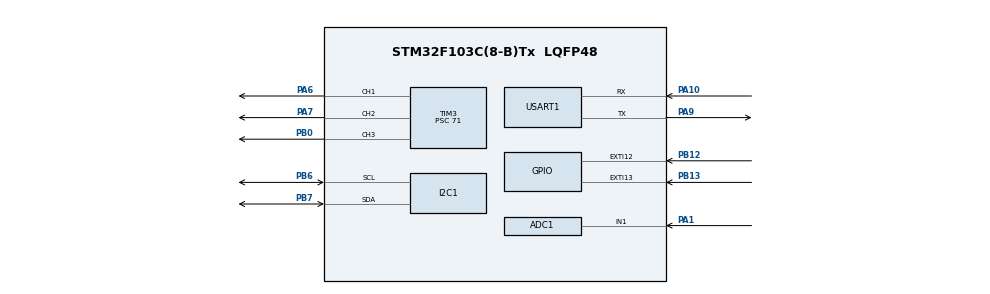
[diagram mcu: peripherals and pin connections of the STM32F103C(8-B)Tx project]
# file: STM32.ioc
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ADC1.Channel-0\#ChannelRegularConversion=ADC_CHANNEL_1
ADC1.ContinuousConvMode=ENABLE
ADC1.NbrOfConversionFlag=1
ADC1.Rank-0\#ChannelRegularConversion=1
ADC1.SamplingTime-0\#ChannelRegularConversion=ADC_SAMPLETIME_1CYCLE_5
ADC1.master=1
Mcu.Family=STM32F1
Mcu.Name=STM32F103C(8-B)Tx
Mcu.Package=LQFP48
NVIC.EXTI15_10_IRQn=true\:0\:0\:false\:false\:true\:true\:true\:true
NVIC.PriorityGroup=NVIC_PRIORITYGROUP_4
NVIC.TIM2_IRQn=true\:0\:0\:false\:false\:true\:true\:true\:true
NVIC.USART1_IRQn=true\:0\:0\:false\:false\:true\:true\:true\:true
PA1.Signal=ADCx_IN1
PA10.Mode=Asynchronous
PA10.Signal=USART1_RX
PA13.Mode=Serial_Wire
PA13.Signal=SYS_JTMS-SWDIO
PA14.Mode=Serial_Wire
PA14.Signal=SYS_JTCK-SWCLK
PA6.Signal=S_TIM3_CH1
PA7.Signal=S_TIM3_CH2
PA9.Mode=Asynchronous
PA9.Signal=USART1_TX
PB0.Signal=S_TIM3_CH3
PB12.GPIO_ModeDefaultEXTI=GPIO_MODE_IT_FALLING
PB12.GPIO_PuPd=GPIO_PULLUP
PB12.Signal=GPXTI12
PB13.GPIO_ModeDefaultEXTI=GPIO_MODE_IT_FALLING
PB13.GPIO_PuPd=GPIO_PULLUP
PB13.Signal=GPXTI13
PB6.Mode=I2C
PB6.Signal=I2C1_SCL
PB7.Mode=I2C
PB7.Signal=I2C1_SDA
PD0-OSC_IN.Mode=HSE-External-Oscillator
PD0-OSC_IN.Signal=RCC_OSC_IN
PD1-OSC_OUT.Mode=HSE-External-Oscillator
PD1-OSC_OUT.Signal=RCC_OSC_OUT
ProjectManager.HeapSize=0x200
ProjectManager.StackSize=0x400
ProjectManager.TargetToolchain=CMake
RCC.APB1Freq_Value=8000000
RCC.APB2Freq_Value=8000000
SH.ADCx_IN1.0=ADC1_IN1,IN1
SH.S_TIM3_CH1.0=TIM3_CH1,PWM Generation1 CH1
SH.S_TIM3_CH2.0=TIM3_CH2,PWM Generation2 CH2
SH.S_TIM3_CH3.0=TIM3_CH3,PWM Generation3 CH3
TIM2.Prescaler=71
TIM3.Channel-PWM\ Generation1\ CH1=TIM_CHANNEL_1
TIM3.Channel-PWM\ Generation2\ CH2=TIM_CHANNEL_2
TIM3.Channel-PWM\ Generation3\ CH3=TIM_CHANNEL_3
TIM3.Prescaler=71
USART1.VirtualMode=VM_ASYNC
VP_TIM2_VS_ClockSourceINT.Mode=Internal
VP_TIM3_VS_ClockSourceINT.Mode=Internal
board=custom

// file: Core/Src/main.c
/* USER CODE BEGIN Header */
    /**
      ******************************************************************************
      * @file           : main.c
      * @brief          : Main program body
      ******************************************************************************
      * @attention
      *
      * Copyright (c) 2026 STMicroelectronics.
      * All rights reserved.
      *
      * This software is licensed under terms that can be found in the LICENSE file
      * in the root directory of this software component.
      * If no LICENSE file comes with this software, it is provided AS-IS.
      *
      ******************************************************************************
      */
    /* USER CODE END Header */
    /* Includes ------------------------------------------------------------------*/
    #include "main.h"

    /* Private includes ----------------------------------------------------------*/
    /* USER CODE BEGIN Includes */
    #include "ssd1306.h"
    #include "ssd1306_fonts.h"
    #include "ssd1306_tests.h"
    #include <string.h>
    #include <stdio.h>
    #include <math.h>
    /* USER CODE END Includes */

    /* Private typedef -----------------------------------------------------------*/

    /* Private define ------------------------------------------------------------*/

    /* Private macro -------------------------------------------------------------*/

    /* Private variables ---------------------------------------------------------*/
    ADC_HandleTypeDef hadc1;

    I2C_HandleTypeDef hi2c1;

    TIM_HandleTypeDef htim2;
    TIM_HandleTypeDef htim3;

    UART_HandleTypeDef huart1;

    /* USER CODE BEGIN PV */
    typedef enum {
        STATE_SOLID,     // 1. MÀU TRẮNG TĨNH 100% (Solid White - All 3 LEDs PA6, PA7, PB0)
        STATE_BREATHING, // 2. THỞ MÀU TRẮNG (White Breathing - Gamma 2.2)
        STATE_RAINBOW,   // 3. CẦU VỒNG 6 GIAI ĐOẠN (Rainbow Spectrum)
        STATE_SLEEP      // 4. TẮT TẤT CẢ (Sleep Mode)
    } SystemState;

    // --- Cấu hình bộ hẹn giờ tự tắt (Auto-off Timer) ---
    // GIÁ TRỊ MẶC ĐỊNH, CHƯA CHỐT VỚI NHÓM — chỉnh lại nếu team thống nhất khác
    #define TIMER_STEP_MIN   5   // mỗi lần bấm PB13 cộng thêm bao nhiêu phút
    #define TIMER_MAX_MIN    30  // giới hạn tối đa bao nhiêu phút

    // Các biến dưới đây được ghi trong ISR (EXTI/UART) và đọc ở main loop -> phải volatile,
    // nếu không trình biên dịch có quyền cache chúng vào thanh ghi khi bật tối ưu (-Os).
    volatile SystemState current_state = STATE_SOLID;
    volatile uint8_t mode_changed_flag = 1;
    volatile uint8_t screen_dirty = 1; // Báo cần vẽ lại toàn bộ OLED (đặt trong ISR, vẽ ở main loop)
    volatile uint32_t timer_remaining_sec = 0; // Số giây còn lại của hẹn giờ, 0 = hẹn giờ đang tắt
    uint32_t timer_last_tick = 0;     // Mốc HAL_GetTick() của lần trừ giây gần nhất (non-blocking)
    int16_t breath_val = 0;
    int8_t breath_step = 15;
    uint8_t rx_byte = 0; // Biến nhận dữ liệu từ Terminal qua UART
    /* USER CODE END PV */

    /* Private function prototypes -----------------------------------------------*/
    void SystemClock_Config(void);
    static void MX_GPIO_Init(void);
    static void MX_ADC1_Init(void);
    static void MX_I2C1_Init(void);
    static void MX_TIM2_Init(void);
    static void MX_TIM3_Init(void);
    static void MX_USART1_UART_Init(void);

    /* Private user code ---------------------------------------------------------*/
    /* USER CODE BEGIN 0 */
    /**
      * @brief Redraw the whole OLED in a single pass: mode on top, auto-off timer below.
      *
      * Mode text and countdown share one framebuffer, so drawing them from two separate
      * blocks made each one erase the other (the mode line vanished every second while a
      * timer was running). One writer, one ssd1306_UpdateScreen().
      */
    static void draw_screen(void)
    {
        ssd1306_Fill(Black);

        ssd1306_SetCursor(2, 2);
        switch (current_state) {
            case STATE_SOLID:     ssd1306_WriteString("1. SOLID WHITE", Font_7x10, White); break;
            case STATE_BREATHING: ssd1306_WriteString("2. BREATHING",   Font_7x10, White); break;
            case STATE_RAINBOW:   ssd1306_WriteString("3. RAINBOW",     Font_7x10, White); break;
            case STATE_SLEEP:     ssd1306_WriteString("4. SLEEP OFF",   Font_7x10, White); break;
        }
        ssd1306_Line(0, 13, 127, 13, White);

        if (timer_remaining_sec > 0) {
            uint32_t remaining = timer_remaining_sec; // chụp 1 lần, tránh ISR đổi giữa chừng
            // Chặn phút trong [0,99] để chuỗi luôn đúng 5 ký tự "MM:SS" — vừa khít
            // 5 x 16px = 80px của Font_16x26 trên màn rộng 128px.
            unsigned mm = (unsigned)((remaining / 60) % 100);
            unsigned ss = (unsigned)(remaining % 60);
            char timer_buf[8];
            snprintf(timer_buf, sizeof(timer_buf), "%02u:%02u", mm, ss);

            // Nhãn phải đối xứng với nhánh else. Bản trước ghi "HEN GIO TAT"
            // (ý là "hẹn giờ tắt đèn") nhưng người dùng đọc thành "hẹn giờ đang tắt",
            // trong khi thực tế nó đang chạy — hiểu ngược hoàn toàn.
            ssd1306_SetCursor(2, 18);
            ssd1306_WriteString("HEN GIO: ON", Font_7x10, White);
            ssd1306_SetCursor(24, 32);
            ssd1306_WriteString(timer_buf, Font_16x26, White); // số to, nhìn từ xa vẫn rõ
        } else {
            ssd1306_SetCursor(2, 18);
            ssd1306_WriteString("HEN GIO: OFF", Font_7x10, White);
        }

        ssd1306_UpdateScreen();
    }
    /* USER CODE END 0 */

    /**
      * @brief  The application entry point.
      * @retval int
      */
    int main(void)
    {

      /* MCU Configuration--------------------------------------------------------*/

      /* Reset of all peripherals, Initializes the Flash interface and the Systick. */
      HAL_Init();

      /* Configure the system clock */
      SystemClock_Config();

      /* Initialize all configured peripherals */
      MX_GPIO_Init();
      MX_ADC1_Init();
      MX_I2C1_Init();
      MX_TIM2_Init();
      MX_TIM3_Init();
      MX_USART1_UART_Init();

      /* USER CODE BEGIN 2 */
      // Ép cấu hình lại các chân PWM (Chống lỗi Output thường của CubeMX)
      GPIO_InitTypeDef GPIO_InitStruct_PWM = {0};
      GPIO_InitStruct_PWM.Pin = GPIO_PIN_6 | GPIO_PIN_7;
      GPIO_InitStruct_PWM.Mode = GPIO_MODE_AF_PP;
      GPIO_InitStruct_PWM.Speed = GPIO_SPEED_FREQ_HIGH;
      HAL_GPIO_Init(GPIOA, &GPIO_InitStruct_PWM);

      GPIO_InitStruct_PWM.Pin = GPIO_PIN_0;
      HAL_GPIO_Init(GPIOB, &GPIO_InitStruct_PWM);

      // Bật tất cả các kênh PWM của TIM3 cho LED RGB
      HAL_TIM_PWM_Start(&htim3, TIM_CHANNEL_1); // Kênh Đỏ (PA6)
      HAL_TIM_PWM_Start(&htim3, TIM_CHANNEL_2); // Kênh Xanh lá (PA7)
      HAL_TIM_PWM_Start(&htim3, TIM_CHANNEL_3); // Kênh Xanh dương (PB0)

      // Hiệu chuẩn ADC trước khi dùng: STM32F1 bắt buộc chạy 1 lần sau khi bật ADC,
      // bỏ qua thì giá trị đọc về lệch offset (vặn biến trở về 0 mà đèn vẫn sáng mờ).
      HAL_ADCEx_Calibration_Start(&hadc1);

      // Bật ADC1 để đọc biến trở
      HAL_ADC_Start(&hadc1);

      // Bật ngắt nhận dữ liệu từ Terminal qua UART1
      HAL_UART_Receive_IT(&huart1, &rx_byte, 1);

      // --- Bỏ quét I2C để tránh lỗi NACK trên Proteus ---
      // Địa chỉ thật lấy từ SSD1306_I2C_ADDR trong ssd1306_conf.h (0x3C << 1).
      // Nếu màn không lên, thử đổi sang 0x3D << 1 — đây là hai địa chỉ duy nhất của SSD1306.
      {
          char boot_msg[48];
          int boot_len = snprintf(boot_msg, sizeof(boot_msg),
                                  "\r\n[BOOT] Init OLED at 0x%02X...\r\n",
                                  (unsigned)(SSD1306_I2C_ADDR >> 1));
          HAL_UART_Transmit(&huart1, (uint8_t*)boot_msg, (uint16_t)boot_len, 100);
      }
      // -------------------

      // Khởi tạo màn hình OLED
      ssd1306_Init();
      ssd1306_Fill(Black);
      ssd1306_SetCursor(10, 10);
      ssd1306_WriteString("OLED OK!", Font_7x10, White);
      ssd1306_UpdateScreen();

      char startup_msg[] = "\r\n==================================================\r\n"
                           "  HE THONG DEN RGB MOOD LAMP - DIEU KHIEN TERMINAL\r\n"
                           "    Go '1': Nac 1 - MAU TRANG TINH (Solid White 100%)\r\n"
                           "    Go '2': Nac 2 - THO MAU TRANG (White Breathing Gamma 2.2)\r\n"
                           "    Go '3': Nac 3 - CAU VONG 6 GIAI DOAN (Rainbow Spectrum)\r\n"
                           "    Go '0': Nac 4 - TAT HET DEN (Sleep Mode)\r\n"
                           "    Go 'n' hoac Space: CHUYEN NAC TIEP THEO\r\n"
                           "==================================================\r\n";
      HAL_UART_Transmit(&huart1, (uint8_t*)startup_msg, strlen(startup_msg), 200);
      /* USER CODE END 2 */

      /* Infinite loop */
      while (1)
      {

        /* USER CODE BEGIN 3 */
        uint32_t now = HAL_GetTick();

        // ==========================================
        // ĐỌC BIẾN TRỞ VÀ QUY ĐỔI SANG max_bright (ÉP QUÉT ADC CHO PROTEUS)
        HAL_ADC_Stop(&hadc1);
        HAL_ADC_Start(&hadc1);
        HAL_ADC_PollForConversion(&hadc1, 10);
        uint32_t adc_val = HAL_ADC_GetValue(&hadc1);
        uint16_t max_bright = (uint16_t)((adc_val * 999) / 4095);
        // ==========================================

        // ==========================================
        // ĐẾM NGƯỢC HẸN GIỜ TỰ TẮT (non-blocking, dựa trên HAL_GetTick, không dùng delay)
        // Chỉ trừ đúng 1 giây mỗi khi đủ 1000ms trôi qua, cộng dồn mốc thay vì gán lại
        // now để không bị trôi lệch tích lũy theo thời gian.
        if (timer_remaining_sec > 0 && (now - timer_last_tick >= 1000)) {
            timer_last_tick += 1000;
            timer_remaining_sec--;

            if (timer_remaining_sec == 0) {
                // Hết giờ -> tự chuyển sang Sleep, để khối mode_changed_flag bên dưới
                // lo việc in UART + vẽ lại OLED theo đúng nấc Sleep như bình thường.
                current_state = STATE_SLEEP;
                mode_changed_flag = 1;
            } else {
                // Còn giờ -> báo cần vẽ lại số đếm ngược mới lên OLED
                screen_dirty = 1;
            }
        }
        // ==========================================

        // 1. Thông báo đổi chế độ qua UART (phần OLED do draw_screen() lo, xem khối 1b)
        if (mode_changed_flag == 1) {
            mode_changed_flag = 0;

            switch(current_state) {
                case STATE_SOLID: {
                    char msg_solid[] = "Nac 1: SOLID WHITE (Mau Trang Tinh 100%)\r\n";
                    HAL_UART_Transmit(&huart1, (uint8_t*)msg_solid, strlen(msg_solid), 100);
                    break;
                }
                case STATE_BREATHING: {
                    char msg_breath[] = "Nac 2: BREATHING WHITE (Tho Mau Trang Gamma 2.2)\r\n";
                    HAL_UART_Transmit(&huart1, (uint8_t*)msg_breath, strlen(msg_breath), 100);
                    break;
                }
                case STATE_RAINBOW: {
                    char msg_rain[] = "Nac 3: RAINBOW SPECTRUM (Cau Vong 6 Giai Doan Chuyen Mau Muot)\r\n";
                    HAL_UART_Transmit(&huart1, (uint8_t*)msg_rain, strlen(msg_rain), 100);
                    break;
                }
                case STATE_SLEEP: {
                    char msg_sleep[] = "Nac 4: SLEEP (TAT HET DEN)\r\n";
                    HAL_UART_Transmit(&huart1, (uint8_t*)msg_sleep, strlen(msg_sleep), 100);
                    break;
                }
            }
            screen_dirty = 1;
        }

        // 1b. VẼ OLED: một lần vẽ duy nhất cho cả nấc hiện tại lẫn đồng hồ đếm ngược.
        // Cờ được bật khi đổi nấc, khi bấm PB13, và mỗi lần trừ đi 1 giây.
        if (screen_dirty == 1) {
            screen_dirty = 0; // Xóa cờ để không vẽ lại liên tục mỗi vòng lặp
            draw_screen();
        }
        // ----------------------------------------

        // 2. Điều khiển PWM theo Chế độ (Độ sáng MAX 100% Cố định)
        switch(current_state) {
            case STATE_SOLID: // NẤC 1: MÀU TRẮNG TĨNH 100% (CẢ 3 LED PA6, PA7, PB0)
                __HAL_TIM_SET_COMPARE(&htim3, TIM_CHANNEL_1, max_bright);
                __HAL_TIM_SET_COMPARE(&htim3, TIM_CHANNEL_2, max_bright);
                __HAL_TIM_SET_COMPARE(&htim3, TIM_CHANNEL_3, max_bright);
                break;

            case STATE_BREATHING: { // NẤC 2: THỞ MÀU TRẮNG THEO CÁCH B (GAMMA 2.2)
                uint32_t t = now % 3000; // 1 chu kỳ thở = 3 giây (3000ms)
                float progress;
                if (t < 1500) {
                    progress = (float)t / 1500.0f; // 0.0 -> 1.0 (Sáng dần)
                } else {
                    progress = (float)(3000 - t) / 1500.0f; // 1.0 -> 0.0 (Tối dần)
                }

                // Áp dụng công thức Cách B: Gamma Correction 2.2 (x^2.2)
                float brightness_ratio = powf(progress, 2.2f);
                uint16_t pwm_val = (uint16_t)((float)max_bright * brightness_ratio);

                // Phát xung PWM đồng thời ra cả 3 màu -> MÀU TRẮNG THỞ MƯỢT
                __HAL_TIM_SET_COMPARE(&htim3, TIM_CHANNEL_1, pwm_val);
                __HAL_TIM_SET_COMPARE(&htim3, TIM_CHANNEL_2, pwm_val);
                __HAL_TIM_SET_COMPARE(&htim3, TIM_CHANNEL_3, pwm_val);
                break;
            }

            case STATE_RAINBOW: { // NẤC 3: HIỆU ỨNG CẦU VỒNG 6 GIAI ĐOẠN (HSV/HSL Spectrum Crossfade)
                uint32_t t = now % 6000;   // 1 chu kỳ Cầu vồng = 6 giây (6000ms)
                uint32_t phase = t / 1000; // 0 -> 5 (6 Giai đoạn màu)
                uint32_t sub_t = t % 1000; // 0 -> 999ms trong từng giai đoạn

                uint16_t inc = (uint16_t)((sub_t * max_bright) / 1000); // Giá trị tăng 0 -> max_bright
                uint16_t dec = max_bright - inc;                        // Giá trị giảm max_bright -> 0

                uint16_t r = 0, g = 0, b = 0;
                switch(phase) {
                    case 0: r = max_bright; g = inc;        b = 0;          break; // Đỏ -> Vàng
                    case 1: r = dec;        g = max_bright; b = 0;          break; // Vàng -> Xanh lá
                    case 2: r = 0;          g = max_bright; b = inc;        break; // Xanh lá -> Cyan
                    case 3: r = 0;          g = dec;        b = max_bright; break; // Cyan -> Xanh dương
                    case 4: r = inc;        g = 0;          b = max_bright; break; // Xanh dương -> Tím
                    case 5: r = max_bright; g = 0;          b = dec;        break; // Tím -> Đỏ
                }

                __HAL_TIM_SET_COMPARE(&htim3, TIM_CHANNEL_1, r); // PA6 (Đỏ)
                __HAL_TIM_SET_COMPARE(&htim3, TIM_CHANNEL_2, g); // PA7 (Xanh lá)
                __HAL_TIM_SET_COMPARE(&htim3, TIM_CHANNEL_3, b); // PB0 (Xanh dương)
                break;
            }

            case STATE_SLEEP: // NẤC 4: TẮT TẤT CẢ
                __HAL_TIM_SET_COMPARE(&htim3, TIM_CHANNEL_1, 0);
                __HAL_TIM_SET_COMPARE(&htim3, TIM_CHANNEL_2, 0);
                __HAL_TIM_SET_COMPARE(&htim3, TIM_CHANNEL_3, 0);
                break;
        }
      /* USER CODE END 3 */
      }
    }

    /**
      * @brief System Clock Configuration
      * @retval None
      */
    void SystemClock_Config(void)
    {
      RCC_OscInitTypeDef RCC_OscInitStruct = {0};
      RCC_ClkInitTypeDef RCC_ClkInitStruct = {0};
      RCC_PeriphCLKInitTypeDef PeriphClkInit = {0};

      /** Initializes the RCC Oscillators according to the specified parameters
      * in the RCC_OscInitTypeDef structure.
      */
      RCC_OscInitStruct.OscillatorType = RCC_OSCILLATORTYPE_HSI;
      RCC_OscInitStruct.HSIState = RCC_HSI_ON;
      RCC_OscInitStruct.HSICalibrationValue = RCC_HSICALIBRATION_DEFAULT;
      RCC_OscInitStruct.PLL.PLLState = RCC_PLL_NONE;
      if (HAL_RCC_OscConfig(&RCC_OscInitStruct) != HAL_OK)
      {
        Error_Handler();
      }

      /** Initializes the CPU, AHB and APB buses clocks
      */
      RCC_ClkInitStruct.ClockType = RCC_CLOCKTYPE_HCLK|RCC_CLOCKTYPE_SYSCLK
                                  |RCC_CLOCKTYPE_PCLK1|RCC_CLOCKTYPE_PCLK2;
      RCC_ClkInitStruct.SYSCLKSource = RCC_SYSCLKSOURCE_HSI;
      RCC_ClkInitStruct.AHBCLKDivider = RCC_SYSCLK_DIV1;
      RCC_ClkInitStruct.APB1CLKDivider = RCC_HCLK_DIV1;
      RCC_ClkInitStruct.APB2CLKDivider = RCC_HCLK_DIV1;

      if (HAL_RCC_ClockConfig(&RCC_ClkInitStruct, FLASH_LATENCY_0) != HAL_OK)
      {
        Error_Handler();
      }
      PeriphClkInit.PeriphClockSelection = RCC_PERIPHCLK_ADC;
      PeriphClkInit.AdcClockSelection = RCC_ADCPCLK2_DIV2;
      if (HAL_RCCEx_PeriphCLKConfig(&PeriphClkInit) != HAL_OK)
      {
        Error_Handler();
      }
    }

    /**
      * @brief ADC1 Initialization Function
      * @param None
      * @retval None
      */
    static void MX_ADC1_Init(void)
    {

      ADC_ChannelConfTypeDef sConfig = {0};

      /** Common config
      */
      hadc1.Instance = ADC1;
      hadc1.Init.ScanConvMode = ADC_SCAN_DISABLE;
      hadc1.Init.ContinuousConvMode = ENABLE;
      hadc1.Init.DiscontinuousConvMode = DISABLE;
      hadc1.Init.ExternalTrigConv = ADC_SOFTWARE_START;
      hadc1.Init.DataAlign = ADC_DATAALIGN_RIGHT;
      hadc1.Init.NbrOfConversion = 1;
      if (HAL_ADC_Init(&hadc1) != HAL_OK)
      {
        Error_Handler();
      }

      /** Configure Regular Channel
      */
      sConfig.Channel = ADC_CHANNEL_1;
      sConfig.Rank = ADC_REGULAR_RANK_1;
      sConfig.SamplingTime = ADC_SAMPLETIME_239CYCLES_5; // Tăng thời gian lấy mẫu tối đa cho biến trở 100k
      if (HAL_ADC_ConfigChannel(&hadc1, &sConfig) != HAL_OK)
      {
        Error_Handler();
      }

    }

    /**
      * @brief I2C1 Initialization Function
      * @param None
      * @retval None
      */
    static void MX_I2C1_Init(void)
    {

      hi2c1.Instance = I2C1;
      hi2c1.Init.ClockSpeed = 100000;
      hi2c1.Init.DutyCycle = I2C_DUTYCYCLE_2;
      hi2c1.Init.OwnAddress1 = 0;
      hi2c1.Init.AddressingMode = I2C_ADDRESSINGMODE_7BIT;
      hi2c1.Init.DualAddressMode = I2C_DUALADDRESS_DISABLE;
      hi2c1.Init.OwnAddress2 = 0;
      hi2c1.Init.GeneralCallMode = I2C_GENERALCALL_DISABLE;
      hi2c1.Init.NoStretchMode = I2C_NOSTRETCH_DISABLE;
      if (HAL_I2C_Init(&hi2c1) != HAL_OK)
      {
        Error_Handler();
      }

    }

    /**
      * @brief TIM2 Initialization Function
      * @param None
      * @retval None
      */
    static void MX_TIM2_Init(void)
    {

      TIM_ClockConfigTypeDef sClockSourceConfig = {0};
      TIM_MasterConfigTypeDef sMasterConfig = {0};

      htim2.Instance = TIM2;
      htim2.Init.Prescaler = 71;
      htim2.Init.CounterMode = TIM_COUNTERMODE_UP;
      htim2.Init.Period = 65535;
      htim2.Init.ClockDivision = TIM_CLOCKDIVISION_DIV1;
      htim2.Init.AutoReloadPreload = TIM_AUTORELOAD_PRELOAD_DISABLE;
      if (HAL_TIM_Base_Init(&htim2) != HAL_OK)
      {
        Error_Handler();
      }
      sClockSourceConfig.ClockSource = TIM_CLOCKSOURCE_INTERNAL;
      if (HAL_TIM_ConfigClockSource(&htim2, &sClockSourceConfig) != HAL_OK)
      {
        Error_Handler();
      }
      sMasterConfig.MasterOutputTrigger = TIM_TRGO_RESET;
      sMasterConfig.MasterSlaveMode = TIM_MASTERSLAVEMODE_DISABLE;
      if (HAL_TIMEx_MasterConfigSynchronization(&htim2, &sMasterConfig) != HAL_OK)
      {
        Error_Handler();
      }

    }

    /**
      * @brief TIM3 Initialization Function
      * @param None
      * @retval None
      */
    static void MX_TIM3_Init(void)
    {

      TIM_ClockConfigTypeDef sClockSourceConfig = {0};
      TIM_MasterConfigTypeDef sMasterConfig = {0};
      TIM_OC_InitTypeDef sConfigOC = {0};

      htim3.Instance = TIM3;
      // Clock hệ thống là HSI 8 MHz (không bật PLL). Prescaler 71 cho ra PWM chỉ 111 Hz
      // -> mắt thấy nháy khi quay video. 7 cho ra 8 MHz / 8 / 1000 = 1 kHz.
      htim3.Init.Prescaler = 7;
      htim3.Init.CounterMode = TIM_COUNTERMODE_UP;
      htim3.Init.Period = 999;
      htim3.Init.ClockDivision = TIM_CLOCKDIVISION_DIV1;
      htim3.Init.AutoReloadPreload = TIM_AUTORELOAD_PRELOAD_DISABLE;
      if (HAL_TIM_Base_Init(&htim3) != HAL_OK)
      {
        Error_Handler();
      }
      sClockSourceConfig.ClockSource = TIM_CLOCKSOURCE_INTERNAL;
      if (HAL_TIM_ConfigClockSource(&htim3, &sClockSourceConfig) != HAL_OK)
      {
        Error_Handler();
      }
      if (HAL_TIM_PWM_Init(&htim3) != HAL_OK)
      {
        Error_Handler();
      }
      sMasterConfig.MasterOutputTrigger = TIM_TRGO_RESET;
      sMasterConfig.MasterSlaveMode = TIM_MASTERSLAVEMODE_DISABLE;
      if (HAL_TIMEx_MasterConfigSynchronization(&htim3, &sMasterConfig) != HAL_OK)
      {
        Error_Handler();
      }
      sConfigOC.OCMode = TIM_OCMODE_PWM1;
      sConfigOC.Pulse = 0;
      sConfigOC.OCPolarity = TIM_OCPOLARITY_HIGH;
      sConfigOC.OCFastMode = TIM_OCFAST_DISABLE;
      if (HAL_TIM_PWM_ConfigChannel(&htim3, &sConfigOC, TIM_CHANNEL_1) != HAL_OK)
      {
        Error_Handler();
      }
      if (HAL_TIM_PWM_ConfigChannel(&htim3, &sConfigOC, TIM_CHANNEL_2) != HAL_OK)
      {
        Error_Handler();
      }
      if (HAL_TIM_PWM_ConfigChannel(&htim3, &sConfigOC, TIM_CHANNEL_3) != HAL_OK)
      {
        Error_Handler();
      }
      if (HAL_TIM_PWM_ConfigChannel(&htim3, &sConfigOC, TIM_CHANNEL_4) != HAL_OK)
      {
        Error_Handler();
      }
      HAL_TIM_MspPostInit(&htim3);

    }

    /**
      * @brief USART1 Initialization Function
      * @param None
      * @retval None
      */
    static void MX_USART1_UART_Init(void)
    {

      huart1.Instance = USART1;
      huart1.Init.BaudRate = 115200;
      huart1.Init.WordLength = UART_WORDLENGTH_8B;
      huart1.Init.StopBits = UART_STOPBITS_1;
      huart1.Init.Parity = UART_PARITY_NONE;
      huart1.Init.Mode = UART_MODE_TX_RX;
      huart1.Init.HwFlowCtl = UART_HWCONTROL_NONE;
      huart1.Init.OverSampling = UART_OVERSAMPLING_16;
      if (HAL_UART_Init(&huart1) != HAL_OK)
      {
        Error_Handler();
      }

    }

    /**
      * @brief GPIO Initialization Function
      * @param None
      * @retval None
      */
    static void MX_GPIO_Init(void)
    {
      GPIO_InitTypeDef GPIO_InitStruct = {0};

      /* GPIO Ports Clock Enable */
      __HAL_RCC_GPIOD_CLK_ENABLE();
      __HAL_RCC_GPIOA_CLK_ENABLE();
      __HAL_RCC_GPIOB_CLK_ENABLE();

      /*Configure GPIO pins : PB12 PB13 */
      GPIO_InitStruct.Pin = GPIO_PIN_12|GPIO_PIN_13;
      GPIO_InitStruct.Mode = GPIO_MODE_IT_FALLING;
      GPIO_InitStruct.Pull = GPIO_PULLUP;
      HAL_GPIO_Init(GPIOB, &GPIO_InitStruct);

      /*Configure GPIO pin : PA7 */
      GPIO_InitStruct.Pin = GPIO_PIN_7;
      GPIO_InitStruct.Mode = GPIO_MODE_OUTPUT_PP;
      GPIO_InitStruct.Speed = GPIO_SPEED_FREQ_HIGH;
      HAL_GPIO_Init(GPIOA, &GPIO_InitStruct);

      /* EXTI interrupt init*/
      HAL_NVIC_SetPriority(EXTI15_10_IRQn, 0, 0);
      HAL_NVIC_EnableIRQ(EXTI15_10_IRQn);

    }

    /* USER CODE BEGIN 4 */
    void HAL_GPIO_EXTI_Callback(uint16_t GPIO_Pin) {
        uint32_t current_time = HAL_GetTick();
        static uint32_t last_pb12_time = 0;
        static uint32_t last_pb13_time = 0;

        // Xử lý nút Đổi chế độ (PB12) - Chống dội 300ms chính xác 100%
        if (GPIO_Pin == GPIO_PIN_12) {
            if ((current_time - last_pb12_time) > 300) {
                current_state++;
                if (current_state > STATE_SLEEP) {
                    current_state = STATE_SOLID;
                }
                mode_changed_flag = 1;
                last_pb12_time = current_time;
            }
        }

        // Xử lý nút Hẹn giờ (PB13) - mỗi lần bấm cộng thêm TIMER_STEP_MIN phút, tối đa TIMER_MAX_MIN phút
        if (GPIO_Pin == GPIO_PIN_13) {
            if ((current_time - last_pb13_time) > 300) {
                timer_remaining_sec += (uint32_t)TIMER_STEP_MIN * 60;
                if (timer_remaining_sec > (uint32_t)TIMER_MAX_MIN * 60) {
                    timer_remaining_sec = (uint32_t)TIMER_MAX_MIN * 60;
                }
                timer_last_tick = current_time; // reset mốc đếm giây, tránh trừ hụt ngay sau khi bấm

                char msg_timer[64];
                int len = snprintf(msg_timer, sizeof(msg_timer),
                                    "-> Hen gio +%d phut (con lai %lu giay)\r\n",
                                    TIMER_STEP_MIN, (unsigned long)timer_remaining_sec);
                HAL_UART_Transmit(&huart1, (uint8_t*)msg_timer, (uint16_t)len, 100);

                screen_dirty = 1; // báo main loop vẽ ngay số đếm ngược mới, không đợi đủ 1s

                last_pb13_time = current_time;
            }
        }
    }

    // Callback ngắt nhận dữ liệu từ Terminal qua UART (Điều khiển LED bằng cách gõ phím)
    void HAL_UART_RxCpltCallback(UART_HandleTypeDef *huart) {
        if (huart->Instance == USART1) {
            // Phản hồi ký tự gõ lại Terminal (Echo back)
            HAL_UART_Transmit(&huart1, &rx_byte, 1, 10);

            if (rx_byte == '1' || rx_byte == 'w' || rx_byte == 'W') {
                current_state = STATE_SOLID; // 1. MÀU TRẮNG TĨNH 100%
                mode_changed_flag = 1;
            } else if (rx_byte == '2' || rx_byte == 'b' || rx_byte == 'B') {
                current_state = STATE_BREATHING; // 2. THỞ MÀU TRẮNG (GAMMA 2.2)
                mode_changed_flag = 1;
            } else if (rx_byte == '3' || rx_byte == 'r' || rx_byte == 'R') {
                current_state = STATE_RAINBOW; // 3. CẦU VỒNG 6 GIAI ĐOẠN
                mode_changed_flag = 1;
            } else if (rx_byte == '0' || rx_byte == 's' || rx_byte == 'S') {
                current_state = STATE_SLEEP; // 4. TẮT TẤT CẢ
                mode_changed_flag = 1;
            } else if (rx_byte == 'n' || rx_byte == 'N' || rx_byte == ' ' || rx_byte == '\r' || rx_byte == '\n') {
                current_state++;
                if (current_state > STATE_SLEEP) current_state = STATE_SOLID;
                mode_changed_flag = 1;
            }

            // Tiếp tục đăng ký ngắt nhận ký tự tiếp theo
            HAL_UART_Receive_IT(&huart1, &rx_byte, 1);
        }
    }

    // Tự động khôi phục ngắt UART nếu xảy ra lỗi tràn bộ nhớ (Overrun Error)
    void HAL_UART_ErrorCallback(UART_HandleTypeDef *huart) {
        if (huart->Instance == USART1) {
            __HAL_UART_CLEAR_PEFLAG(huart);
            __HAL_UART_CLEAR_FEFLAG(huart);
            __HAL_UART_CLEAR_NEFLAG(huart);
            __HAL_UART_CLEAR_OREFLAG(huart);
            HAL_UART_Receive_IT(&huart1, &rx_byte, 1);
        }
    }
    /* USER CODE END 4 */

    /**
      * @brief  This function is executed in case of error occurrence.
      * @retval None
      */
    void Error_Handler(void)
    {
      __disable_irq();
      while (1)
      {
      }
    }
    #ifdef USE_FULL_ASSERT
    /**
      * @brief  Reports the name of the source file and the source line number
      *         where the assert_param error has occurred.
      * @param  file: pointer to the source file name
      * @param  line: assert_param error line source number
      * @retval None
      */
    void assert_failed(uint8_t *file, uint32_t line)
    {
    }
    #endif /* USE_FULL_ASSERT */
